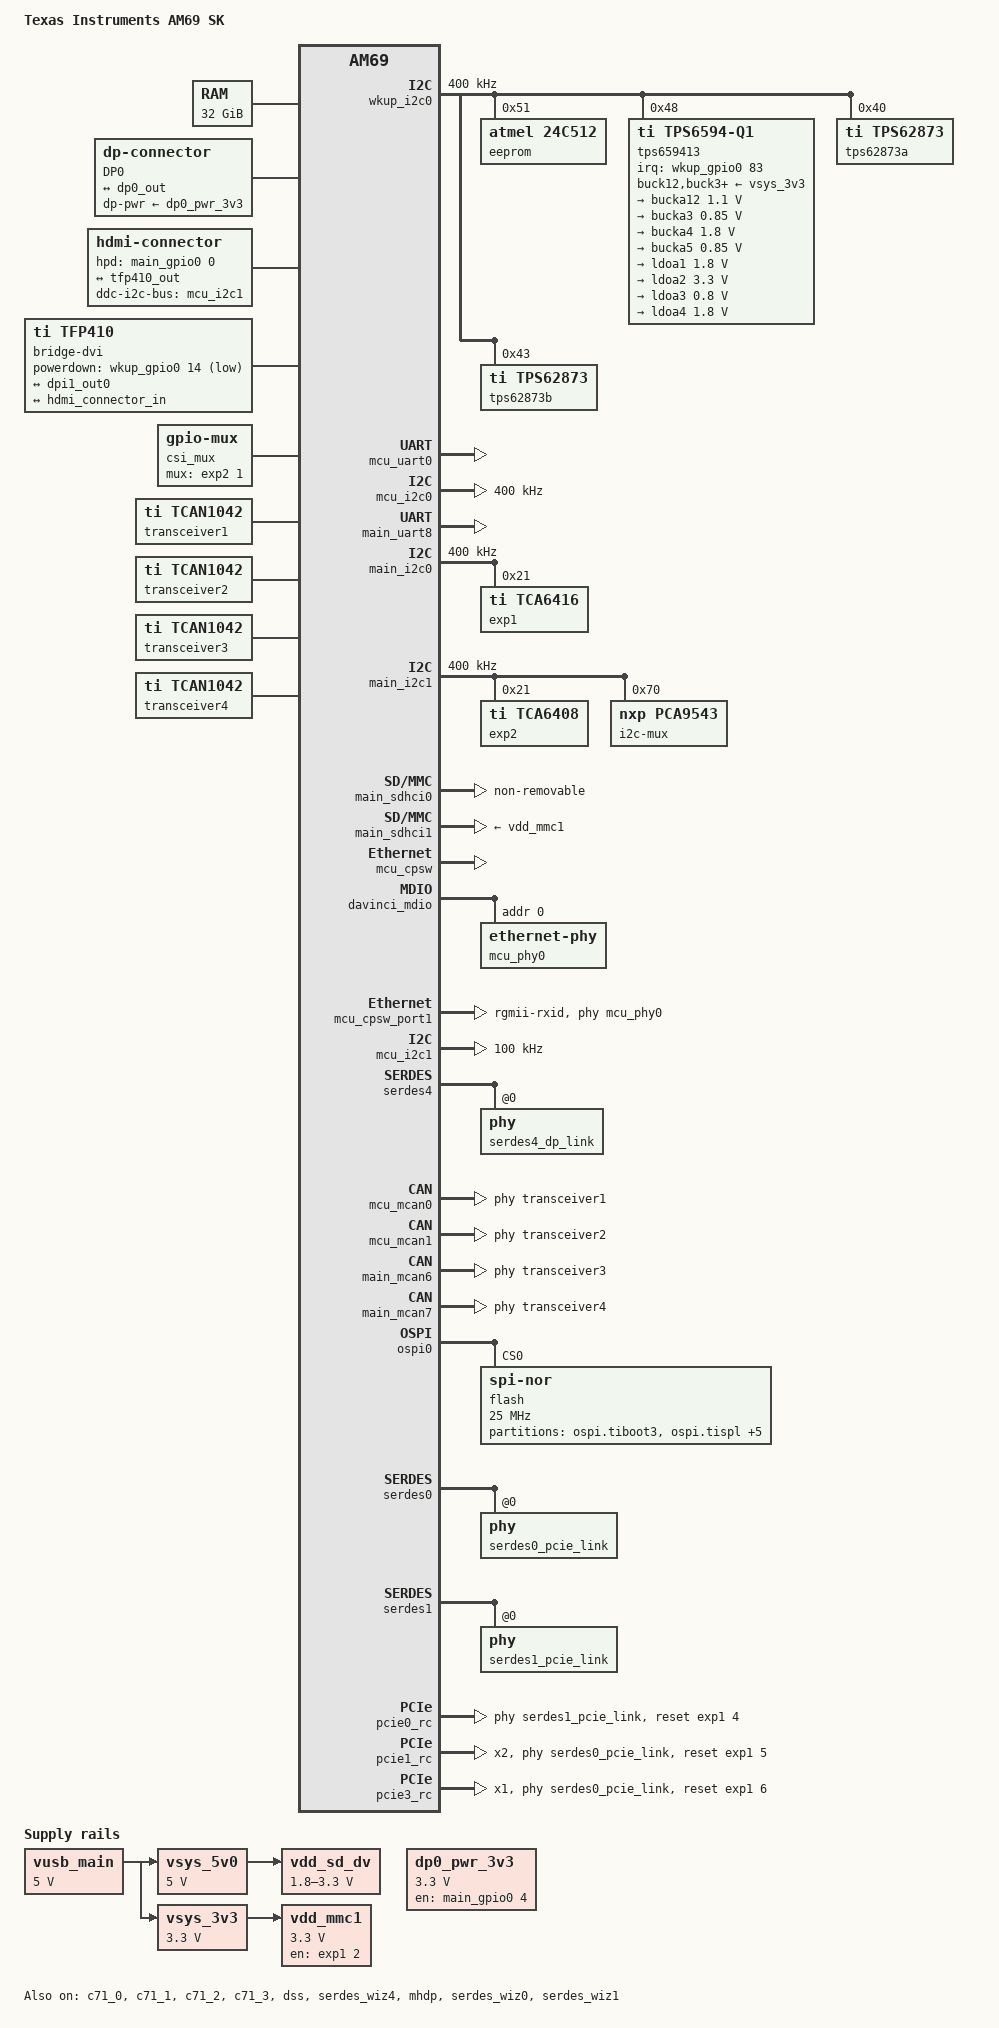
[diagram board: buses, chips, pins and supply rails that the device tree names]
// SPDX-License-Identifier: GPL-2.0-only OR MIT
/*
 * Copyright (C) 2022-2024 Texas Instruments Incorporated - https://www.ti.com/
 *
 * Design Files: https://www.ti.com/lit/zip/SPRR466
 * TRM: https://www.ti.com/lit/zip/spruj52
 */

/dts-v1/;

#include <dt-bindings/net/ti-dp83867.h>
#include <dt-bindings/gpio/gpio.h>
#include "k3-j784s4.dtsi"

/ {
	compatible = "ti,am69-sk", "ti,j784s4";
	model = "Texas Instruments AM69 SK";

	chosen {
		stdout-path = "serial2:115200n8";
	};

	aliases {
		serial0 = &wkup_uart0;
		serial1 = &mcu_uart0;
		serial2 = &main_uart8;
		mmc0 = &main_sdhci0;
		mmc1 = &main_sdhci1;
		i2c0 = &wkup_i2c0;
		i2c3 = &main_i2c0;
		ethernet0 = &mcu_cpsw_port1;
	};

	memory@80000000 {
		device_type = "memory";
		bootph-all;
		/* 32G RAM */
		reg = <0x00000000 0x80000000 0x00000000 0x80000000>,
		      <0x00000008 0x80000000 0x00000007 0x80000000>;
	};

	reserved_memory: reserved-memory {
		#address-cells = <2>;
		#size-cells = <2>;
		ranges;

		secure_ddr: optee@9e800000 {
			reg = <0x00 0x9e800000 0x00 0x01800000>;
			no-map;
		};

		mcu_r5fss0_core0_dma_memory_region: r5f-dma-memory@a0000000 {
			compatible = "shared-dma-pool";
			reg = <0x00 0xa0000000 0x00 0x100000>;
			no-map;
		};

		mcu_r5fss0_core0_memory_region: r5f-memory@a0100000 {
			compatible = "shared-dma-pool";
			reg = <0x00 0xa0100000 0x00 0xf00000>;
			no-map;
		};

		mcu_r5fss0_core1_dma_memory_region: r5f-dma-memory@a1000000 {
			compatible = "shared-dma-pool";
			reg = <0x00 0xa1000000 0x00 0x100000>;
			no-map;
		};

		mcu_r5fss0_core1_memory_region: r5f-memory@a1100000 {
			compatible = "shared-dma-pool";
			reg = <0x00 0xa1100000 0x00 0xf00000>;
			no-map;
		};

		main_r5fss0_core0_dma_memory_region: r5f-dma-memory@a2000000 {
			compatible = "shared-dma-pool";
			reg = <0x00 0xa2000000 0x00 0x100000>;
			no-map;
		};

		main_r5fss0_core0_memory_region: r5f-memory@a2100000 {
			compatible = "shared-dma-pool";
			reg = <0x00 0xa2100000 0x00 0xf00000>;
			no-map;
		};

		main_r5fss0_core1_dma_memory_region: r5f-dma-memory@a3000000 {
			compatible = "shared-dma-pool";
			reg = <0x00 0xa3000000 0x00 0x100000>;
			no-map;
		};

		main_r5fss0_core1_memory_region: r5f-memory@a3100000 {
			compatible = "shared-dma-pool";
			reg = <0x00 0xa3100000 0x00 0xf00000>;
			no-map;
		};

		main_r5fss1_core0_dma_memory_region: r5f-dma-memory@a4000000 {
			compatible = "shared-dma-pool";
			reg = <0x00 0xa4000000 0x00 0x100000>;
			no-map;
		};

		main_r5fss1_core0_memory_region: r5f-memory@a4100000 {
			compatible = "shared-dma-pool";
			reg = <0x00 0xa4100000 0x00 0xf00000>;
			no-map;
		};

		main_r5fss1_core1_dma_memory_region: r5f-dma-memory@a5000000 {
			compatible = "shared-dma-pool";
			reg = <0x00 0xa5000000 0x00 0x100000>;
			no-map;
		};

		main_r5fss1_core1_memory_region: r5f-memory@a5100000 {
			compatible = "shared-dma-pool";
			reg = <0x00 0xa5100000 0x00 0xf00000>;
			no-map;
		};

		main_r5fss2_core0_dma_memory_region: r5f-dma-memory@a6000000 {
			compatible = "shared-dma-pool";
			reg = <0x00 0xa6000000 0x00 0x100000>;
			no-map;
		};

		main_r5fss2_core0_memory_region: r5f-memory@a6100000 {
			compatible = "shared-dma-pool";
			reg = <0x00 0xa6100000 0x00 0xf00000>;
			no-map;
		};

		main_r5fss2_core1_dma_memory_region: r5f-dma-memory@a7000000 {
			compatible = "shared-dma-pool";
			reg = <0x00 0xa7000000 0x00 0x100000>;
			no-map;
		};

		main_r5fss2_core1_memory_region: r5f-memory@a7100000 {
			compatible = "shared-dma-pool";
			reg = <0x00 0xa7100000 0x00 0xf00000>;
			no-map;
		};

		c71_0_dma_memory_region: c71-dma-memory@a8000000 {
			compatible = "shared-dma-pool";
			reg = <0x00 0xa8000000 0x00 0x100000>;
			no-map;
		};

		c71_0_memory_region: c71-memory@a8100000 {
			compatible = "shared-dma-pool";
			reg = <0x00 0xa8100000 0x00 0xf00000>;
			no-map;
		};

		c71_1_dma_memory_region: c71-dma-memory@a9000000 {
			compatible = "shared-dma-pool";
			reg = <0x00 0xa9000000 0x00 0x100000>;
			no-map;
		};

		c71_1_memory_region: c71-memory@a9100000 {
			compatible = "shared-dma-pool";
			reg = <0x00 0xa9100000 0x00 0xf00000>;
			no-map;
		};

		c71_2_dma_memory_region: c71-dma-memory@aa000000 {
			compatible = "shared-dma-pool";
			reg = <0x00 0xaa000000 0x00 0x100000>;
			no-map;
		};

		c71_2_memory_region: c71-memory@aa100000 {
			compatible = "shared-dma-pool";
			reg = <0x00 0xaa100000 0x00 0xf00000>;
			no-map;
		};

		c71_3_dma_memory_region: c71-dma-memory@ab000000 {
			compatible = "shared-dma-pool";
			reg = <0x00 0xab000000 0x00 0x100000>;
			no-map;
		};

		c71_3_memory_region: c71-memory@ab100000 {
			compatible = "shared-dma-pool";
			reg = <0x00 0xab100000 0x00 0xf00000>;
			no-map;
		};
	};

	vusb_main: regulator-vusb-main5v0 {
		/* USB MAIN INPUT 5V DC */
		compatible = "regulator-fixed";
		regulator-name = "vusb-main5v0";
		regulator-min-microvolt = <5000000>;
		regulator-max-microvolt = <5000000>;
		regulator-always-on;
		regulator-boot-on;
	};

	vsys_5v0: regulator-vsys5v0 {
		/* Output of LM61460 */
		compatible = "regulator-fixed";
		regulator-name = "vsys_5v0";
		regulator-min-microvolt = <5000000>;
		regulator-max-microvolt = <5000000>;
		vin-supply = <&vusb_main>;
		regulator-always-on;
		regulator-boot-on;
	};

	vsys_3v3: regulator-vsys3v3 {
		/* Output of LM5143 */
		compatible = "regulator-fixed";
		regulator-name = "vsys_3v3";
		regulator-min-microvolt = <3300000>;
		regulator-max-microvolt = <3300000>;
		vin-supply = <&vusb_main>;
		regulator-always-on;
		regulator-boot-on;
	};

	vdd_mmc1: regulator-sd {
		/* Output of TPS22918 */
		compatible = "regulator-fixed";
		regulator-name = "vdd_mmc1";
		regulator-min-microvolt = <3300000>;
		regulator-max-microvolt = <3300000>;
		regulator-boot-on;
		enable-active-high;
		vin-supply = <&vsys_3v3>;
		gpio = <&exp1 2 GPIO_ACTIVE_HIGH>;
	};

	vdd_sd_dv: regulator-tlv71033 {
		/* Output of TLV71033 */
		compatible = "regulator-gpio";
		regulator-name = "tlv71033";
		pinctrl-names = "default";
		pinctrl-0 = <&vdd_sd_dv_pins_default>;
		regulator-min-microvolt = <1800000>;
		regulator-max-microvolt = <3300000>;
		regulator-boot-on;
		vin-supply = <&vsys_5v0>;
		gpios = <&main_gpio0 49 GPIO_ACTIVE_HIGH>;
		states = <1800000 0x0>,
			 <3300000 0x1>;
	};

	dp0_pwr_3v3: regulator-dp0-pwr {
		compatible = "regulator-fixed";
		regulator-name = "dp0-pwr";
		regulator-min-microvolt = <3300000>;
		regulator-max-microvolt = <3300000>;
		pinctrl-names = "default";
		pinctrl-0 = <&dp_pwr_en_pins_default>;
		gpio = <&main_gpio0 4 0>;	/* DP0_3V3 _EN */
		enable-active-high;
	};

	dp0: connector-dp0 {
		compatible = "dp-connector";
		label = "DP0";
		type = "full-size";
		dp-pwr-supply = <&dp0_pwr_3v3>;

		port {
			dp0_connector_in: endpoint {
				remote-endpoint = <&dp0_out>;
			};
		};
	};

	connector-hdmi {
		compatible = "hdmi-connector";
		label = "hdmi";
		type = "a";
		pinctrl-names = "default";
		pinctrl-0 = <&hdmi_hpd_pins_default>;
		ddc-i2c-bus = <&mcu_i2c1>;
		hpd-gpios = <&main_gpio0 0 GPIO_ACTIVE_HIGH>;	/* HDMI_HPD */

		port {
			hdmi_connector_in: endpoint {
				remote-endpoint = <&tfp410_out>;
			};
		};
	};

	bridge-dvi {
		compatible = "ti,tfp410";
		pinctrl-names = "default";
		pinctrl-0 = <&hdmi_pdn_pins_default>;
		powerdown-gpios = <&wkup_gpio0 14 GPIO_ACTIVE_LOW>;	/* HDMI_PDn */
		ti,deskew = <0>;

		ports {
			#address-cells = <1>;
			#size-cells = <0>;

			port@0 {
				reg = <0>;

				tfp410_in: endpoint {
					remote-endpoint = <&dpi1_out0>;
					pclk-sample = <1>;
				};
			};

			port@1 {
				reg = <1>;

				tfp410_out: endpoint {
					remote-endpoint = <&hdmi_connector_in>;
				};
			};
		};
	};

	csi_mux: mux-controller {
		compatible = "gpio-mux";
		#mux-state-cells = <1>;
		mux-gpios = <&exp2 1 GPIO_ACTIVE_HIGH>;
		idle-state = <0>;
	};

	transceiver1: can-phy0 {
		compatible = "ti,tcan1042";
		#phy-cells = <0>;
		max-bitrate = <5000000>;
	};

	transceiver2: can-phy1 {
		compatible = "ti,tcan1042";
		#phy-cells = <0>;
		max-bitrate = <5000000>;
	};

	transceiver3: can-phy2 {
		compatible = "ti,tcan1042";
		#phy-cells = <0>;
		max-bitrate = <5000000>;
	};

	transceiver4: can-phy3 {
		compatible = "ti,tcan1042";
		#phy-cells = <0>;
		max-bitrate = <5000000>;
	};

};

&main_pmx0 {
	bootph-all;
	main_uart8_pins_default: main-uart8-default-pins {
		bootph-all;
		pinctrl-single,pins = <
			J784S4_IOPAD(0x0d0, PIN_INPUT, 11) /* (AP38) SPI0_CS1.UART8_RXD */
			J784S4_IOPAD(0x0d4, PIN_OUTPUT, 11) /* (AN38) SPI0_CLK.UART8_TXD */
		>;
	};

	main_i2c0_pins_default: main-i2c0-default-pins {
		pinctrl-single,pins = <
			J784S4_IOPAD(0x0e0, PIN_INPUT_PULLUP, 0) /* (AN36) I2C0_SCL */
			J784S4_IOPAD(0x0e4, PIN_INPUT_PULLUP, 0) /* (AP37) I2C0_SDA */
		>;
	};

	main_i2c1_pins_default: main-i2c1-default-pins {
		pinctrl-single,pins = <
			J784S4_IOPAD(0x0ac, PIN_INPUT_PULLUP, 13) /* (AE34) MCASP0_AXR15.I2C1_SCL */
			J784S4_IOPAD(0x0b0, PIN_INPUT_PULLUP, 13) /* (AL33) MCASP1_AXR3.I2C1_SDA */
		>;
	};

	main_mmc1_pins_default: main-mmc1-default-pins {
		bootph-all;
		pinctrl-single,pins = <
			J784S4_IOPAD(0x104, PIN_INPUT, 0) /* (AB38) MMC1_CLK */
			J784S4_IOPAD(0x108, PIN_INPUT, 0) /* (AB36) MMC1_CMD */
			J784S4_IOPAD(0x100, PIN_INPUT, 0) /* (No Pin) MMC1_CLKLB */
			J784S4_IOPAD(0x0fc, PIN_INPUT, 0) /* (AA33) MMC1_DAT0 */
			J784S4_IOPAD(0x0f8, PIN_INPUT, 0) /* (AB34) MMC1_DAT1 */
			J784S4_IOPAD(0x0f4, PIN_INPUT, 0) /* (AA32) MMC1_DAT2 */
			J784S4_IOPAD(0x0f0, PIN_INPUT, 0) /* (AC38) MMC1_DAT3 */
			J784S4_IOPAD(0x0e8, PIN_INPUT, 8) /* (AR38) TIMER_IO0.MMC1_SDCD */
		>;
	};

	vdd_sd_dv_pins_default: vdd-sd-dv-default-pins {
		pinctrl-single,pins = <
			J784S4_IOPAD(0x0C4, PIN_INPUT, 7) /* (AD36) ECAP0_IN_APWM_OUT.GPIO0_49 */
		>;
	};

	rpi_header_gpio0_pins_default: rpi-header-gpio0-default-pins {
		pinctrl-single,pins = <
			J784S4_IOPAD(0x0BC, PIN_INPUT, 7) /* (AD33) MCASP1_AFSX.GPIO0_47 */
			J784S4_IOPAD(0x06C, PIN_INPUT, 7) /* (AJ37) MCASP4_AFSX.GPIO0_27 */
			J784S4_IOPAD(0x0B4, PIN_INPUT, 7) /* (AL34) MCASP1_AXR4.GPIO0_45 */
			J784S4_IOPAD(0x0C0, PIN_INPUT, 7) /* (AD38) MCASP1_AXR0.GPIO0_48 */
			J784S4_IOPAD(0x00C, PIN_INPUT, 7) /* (AF33) MCAN13_TX.GPIO0_3 */
			J784S4_IOPAD(0x0B8, PIN_INPUT, 7) /* (AC34) MCASP1_ACLKX.GPIO0_46 */
			J784S4_IOPAD(0x090, PIN_INPUT, 7) /* (AC35) MCASP0_AXR8.GPIO0_36 */
			J784S4_IOPAD(0x0A8, PIN_INPUT, 7) /* (AF34) MCASP0_AXR14.GPIO0_42 */
			J784S4_IOPAD(0x0A4, PIN_INPUT, 7) /* (AJ36) MCASP0_AXR13.GPIO0_41 */
			J784S4_IOPAD(0x034, PIN_INPUT, 7) /* (AJ34) PMIC_WAKE0n.GPIO0_13 */
			J784S4_IOPAD(0x0CC, PIN_INPUT, 7) /* (AM37) SPI0_CS0.GPIO0_51 */
			J784S4_IOPAD(0x08C, PIN_INPUT, 7) /* (AE35) MCASP0_AXR7.GPIO0_35 */
			J784S4_IOPAD(0x008, PIN_INPUT, 7) /* (AJ33) MCAN12_RX.GPIO0_2 */
			J784S4_IOPAD(0x004, PIN_INPUT, 7) /* (AG36) MCAN12_TX.GPIO0_1 */
		>;
	};

	dp0_pins_default: dp0-default-pins {
		pinctrl-single,pins = <
			J784S4_IOPAD(0x014, PIN_INPUT, 13) /* (AG33) MCAN14_TX.DP0_HPD */
		>;
	};

	dp_pwr_en_pins_default: dp-pwr-en-default-pins {
		pinctrl-single,pins = <
			J784S4_IOPAD(0x010, PIN_INPUT, 7) /* (AH33) MCAN13_RX.GPIO0_4 */
		>;
	};

	dss_vout0_pins_default: dss-vout0-default-pins {
		pinctrl-single,pins = <
			J784S4_IOPAD(0x074, PIN_OUTPUT, 2) /* (AC33) MCAN2_TX.VOUT0_DATA0 */
			J784S4_IOPAD(0x070, PIN_OUTPUT, 2) /* (AH38) MCAN1_RX.VOUT0_DATA1 */
			J784S4_IOPAD(0x07c, PIN_OUTPUT, 2) /* (AJ38) MCASP0_AXR3.VOUT0_DATA2 */
			J784S4_IOPAD(0x068, PIN_OUTPUT, 2) /* (AE38) MCAN0_RX.VOUT0_DATA3 */
			J784S4_IOPAD(0x064, PIN_OUTPUT, 2) /* (AF38) MCAN0_TX.VOUT0_DATA4 */
			J784S4_IOPAD(0x060, PIN_OUTPUT, 2) /* (AE36) MCASP2_AXR1.VOUT0_DATA5 */
			J784S4_IOPAD(0x05c, PIN_OUTPUT, 2) /* (AC36) MCASP2_AXR0.VOUT0_DATA6 */
			J784S4_IOPAD(0x058, PIN_OUTPUT, 2) /* (AE37) MCASP2_AFSX.VOUT0_DATA7 */
			J784S4_IOPAD(0x054, PIN_OUTPUT, 2) /* (AD37) MCASP2_ACLKX.VOUT0_DATA8 */
			J784S4_IOPAD(0x050, PIN_OUTPUT, 2) /* (AC37) MCASP1_AXR2.VOUT0_DATA9 */
			J784S4_IOPAD(0x04c, PIN_OUTPUT, 2) /* (AC32) MCASP1_AXR1.VOUT0_DATA10 */
			J784S4_IOPAD(0x048, PIN_OUTPUT, 2) /* (AK33) MCASP0_AXR2.VOUT0_DATA11 */
			J784S4_IOPAD(0x044, PIN_OUTPUT, 2) /* (AG37) MCASP0_AXR1.VOUT0_DATA12 */
			J784S4_IOPAD(0x040, PIN_OUTPUT, 2) /* (AF37) MCASP0_AXR0.VOUT0_DATA13 */
			J784S4_IOPAD(0x03c, PIN_OUTPUT, 2) /* (AK38) MCASP0_AFSX.VOUT0_DATA14 */
			J784S4_IOPAD(0x038, PIN_OUTPUT, 2) /* (AK35) MCASP0_ACLKX.VOUT0_DATA15 */
			J784S4_IOPAD(0x0c8, PIN_OUTPUT, 2) /* (AJ32) EXT_REFCLK1.VOUT0_DATA16 */
			J784S4_IOPAD(0x030, PIN_OUTPUT, 2) /* (AK37) GPIO0_12.VOUT0_DATA17 */
			J784S4_IOPAD(0x02c, PIN_OUTPUT, 2) /* (AL32) GPIO0_11.VOUT0_DATA18 */
			J784S4_IOPAD(0x028, PIN_OUTPUT, 2) /* (AE33) MCAN16_RX.VOUT0_DATA19 */
			J784S4_IOPAD(0x024, PIN_OUTPUT, 2) /* (AH34) MCAN16_TX.VOUT0_DATA20 */
			J784S4_IOPAD(0x020, PIN_OUTPUT, 2) /* (AJ35) MCAN15_RX.VOUT0_DATA21 */
			J784S4_IOPAD(0x01c, PIN_OUTPUT, 2) /* (AG34) MCAN15_TX.VOUT0_DATA22 */
			J784S4_IOPAD(0x018, PIN_OUTPUT, 2) /* (AK36) MCAN14_RX.VOUT0_DATA23 */
			J784S4_IOPAD(0x084, PIN_OUTPUT, 2) /* (AG38) MCASP0_AXR5.VOUT0_DE */
			J784S4_IOPAD(0x080, PIN_OUTPUT, 2) /* (AK34) MCASP0_AXR4.VOUT0_HSYNC */
			J784S4_IOPAD(0x078, PIN_OUTPUT, 2) /* (AH37) MCAN2_RX.VOUT0_PCLK */
			J784S4_IOPAD(0x088, PIN_OUTPUT, 2) /* (AF36) MCASP0_AXR6.VOUT0_VSYNC */
		>;
	};

	hdmi_hpd_pins_default: hdmi-hpd-default-pins {
		pinctrl-single,pins = <
			J784S4_IOPAD(0x000, PIN_INPUT, 7) /* (AN35) EXTINTN.GPIO0_0 */
		>;
	};

	main_mcan6_pins_default: main-mcan6-default-pins {
		pinctrl-single,pins = <
			J784S4_IOPAD(0x098, PIN_INPUT, 0) /* (AH36) MCAN6_RX */
			J784S4_IOPAD(0x094, PIN_OUTPUT, 0) /* (AG35) MCAN6_TX */
		>;
	};

	main_mcan7_pins_default: main-mcan7-default-pins {
		pinctrl-single,pins = <
			J784S4_IOPAD(0x0A0, PIN_INPUT, 0) /* (AD34) MCAN7_RX */
			J784S4_IOPAD(0x09C, PIN_OUTPUT, 0) /* (AF35) MCAN7_TX */
		>;
	};

};

&wkup_pmx0 {
	bootph-all;
	mcu_fss0_ospi0_pins_default: mcu-fss0-ospi0-default-pins {
		pinctrl-single,pins = <
			J784S4_WKUP_IOPAD(0x000, PIN_OUTPUT, 0) /* (E32) MCU_OSPI0_CLK */
			J784S4_WKUP_IOPAD(0x02c, PIN_OUTPUT, 0) /* (A32) MCU_OSPI0_CSn0 */
			J784S4_WKUP_IOPAD(0x00c, PIN_INPUT, 0) /* (B33) MCU_OSPI0_D0 */
			J784S4_WKUP_IOPAD(0x010, PIN_INPUT, 0) /* (B32) MCU_OSPI0_D1 */
			J784S4_WKUP_IOPAD(0x014, PIN_INPUT, 0) /* (C33) MCU_OSPI0_D2 */
			J784S4_WKUP_IOPAD(0x018, PIN_INPUT, 0) /* (C35) MCU_OSPI0_D3 */
			J784S4_WKUP_IOPAD(0x01c, PIN_INPUT, 0) /* (D33) MCU_OSPI0_D4 */
			J784S4_WKUP_IOPAD(0x020, PIN_INPUT, 0) /* (D34) MCU_OSPI0_D5 */
			J784S4_WKUP_IOPAD(0x024, PIN_INPUT, 0) /* (E34) MCU_OSPI0_D6 */
			J784S4_WKUP_IOPAD(0x028, PIN_INPUT, 0) /* (E33) MCU_OSPI0_D7 */
			J784S4_WKUP_IOPAD(0x008, PIN_INPUT, 0) /* (C34) MCU_OSPI0_DQS */
		>;
	};
};

&wkup_pmx2 {
	bootph-all;
	pmic_irq_pins_default: pmic-irq-default-pins {
		pinctrl-single,pins = <
			/* (AA37) MCU_ADC1_AIN4.WKUP_GPIO0_83 */
			J784S4_WKUP_IOPAD(0x0fc, PIN_INPUT, 7)
		>;
	};

	wkup_uart0_pins_default: wkup-uart0-default-pins {
		bootph-all;
		pinctrl-single,pins = <
			J784S4_WKUP_IOPAD(0x070, PIN_INPUT, 0) /* (L37) WKUP_UART0_CTSn */
			J784S4_WKUP_IOPAD(0x074, PIN_OUTPUT, 0) /* (L36) WKUP_UART0_RTSn */
			J784S4_WKUP_IOPAD(0x048, PIN_INPUT, 0) /* (K35) WKUP_UART0_RXD */
			J784S4_WKUP_IOPAD(0x04c, PIN_OUTPUT, 0) /* (K34) WKUP_UART0_TXD */
		>;
	};

	wkup_i2c0_pins_default: wkup-i2c0-default-pins {
		bootph-all;
		pinctrl-single,pins = <
			J784S4_WKUP_IOPAD(0x98, PIN_INPUT, 0) /* (N33) WKUP_I2C0_SCL */
			J784S4_WKUP_IOPAD(0x9c, PIN_INPUT, 0) /* (N35) WKUP_I2C0_SDA */
		>;
	};

	mcu_uart0_pins_default: mcu-uart0-default-pins {
		bootph-all;
		pinctrl-single,pins = <
			J784S4_WKUP_IOPAD(0x08c, PIN_INPUT, 0) /* (K38) WKUP_GPIO0_13.MCU_UART0_RXD */
			J784S4_WKUP_IOPAD(0x088, PIN_OUTPUT, 0) /* (J37) WKUP_GPIO0_12.MCU_UART0_TXD */
		>;
	};

	mcu_i2c0_pins_default: mcu-i2c0-default-pins {
		pinctrl-single,pins = <
			J784S4_WKUP_IOPAD(0x0a0, PIN_INPUT_PULLUP, 0) /* (M35) MCU_I2C0_SCL */
			J784S4_WKUP_IOPAD(0x0a4, PIN_INPUT_PULLUP, 0) /* (G34) MCU_I2C0_SDA */
		>;
	};

	mcu_cpsw_pins_default: mcu-cpsw-default-pins {
		pinctrl-single,pins = <
			J784S4_WKUP_IOPAD(0x02c, PIN_INPUT, 0) /* (A35) MCU_RGMII1_RD0 */
			J784S4_WKUP_IOPAD(0x028, PIN_INPUT, 0) /* (B36) MCU_RGMII1_RD1 */
			J784S4_WKUP_IOPAD(0x024, PIN_INPUT, 0) /* (C36) MCU_RGMII1_RD2 */
			J784S4_WKUP_IOPAD(0x020, PIN_INPUT, 0) /* (D36) MCU_RGMII1_RD3 */
			J784S4_WKUP_IOPAD(0x01c, PIN_INPUT, 0) /* (B37) MCU_RGMII1_RXC */
			J784S4_WKUP_IOPAD(0x004, PIN_INPUT, 0) /* (C37) MCU_RGMII1_RX_CTL */
			J784S4_WKUP_IOPAD(0x014, PIN_OUTPUT, 0) /* (D37) MCU_RGMII1_TD0 */
			J784S4_WKUP_IOPAD(0x010, PIN_OUTPUT, 0) /* (D38) MCU_RGMII1_TD1 */
			J784S4_WKUP_IOPAD(0x00c, PIN_OUTPUT, 0) /* (E37) MCU_RGMII1_TD2 */
			J784S4_WKUP_IOPAD(0x008, PIN_OUTPUT, 0) /* (E38) MCU_RGMII1_TD3 */
			J784S4_WKUP_IOPAD(0x018, PIN_OUTPUT, 0) /* (E36) MCU_RGMII1_TXC */
			J784S4_WKUP_IOPAD(0x000, PIN_OUTPUT, 0) /* (C38) MCU_RGMII1_TX_CTL */
		>;
	};

	mcu_mdio_pins_default: mcu-mdio-default-pins {
		pinctrl-single,pins = <
			J784S4_WKUP_IOPAD(0x034, PIN_OUTPUT, 0) /* (A36) MCU_MDIO0_MDC */
			J784S4_WKUP_IOPAD(0x030, PIN_INPUT, 0) /* (B35) MCU_MDIO0_MDIO */
		>;
	};

	mcu_rpi_hdr1_gpio0_pins_default: mcu-rpi-hdr1-gpio0-default-pins {
		pinctrl-single,pins = <
			J784S4_WKUP_IOPAD(0x118, PIN_INPUT, 7) /* (N34) WKUP_GPIO0_66 */
			J784S4_WKUP_IOPAD(0x05c, PIN_INPUT, 7) /* (J34) WKUP_GPIO0_1 */
			J784S4_WKUP_IOPAD(0x060, PIN_INPUT, 7) /* (J35) WKUP_GPIO0_2 */
			J784S4_WKUP_IOPAD(0x058, PIN_INPUT, 7) /* (H38) WKUP_GPIO0_0 */
			J784S4_WKUP_IOPAD(0x0b8, PIN_INPUT, 7) /* (M37) WKUP_GPIO0_56 */
			J784S4_WKUP_IOPAD(0x114, PIN_INPUT, 7) /* (M36) WKUP_GPIO0_57 */
			J784S4_WKUP_IOPAD(0x094, PIN_INPUT, 7) /* (K37) WKUP_GPIO0_15 */
			J784S4_WKUP_IOPAD(0x064, PIN_INPUT, 7) /* (J36) WKUP_GPIO0_3 */
			J784S4_WKUP_IOPAD(0x11c, PIN_INPUT, 7) /* (M34) WKUP_GPIO0_67 */
		>;
	};

	mcu_i2c1_pins_default: mcu-i2c1-default-pins {
		pinctrl-single,pins = <
			/* (L35) WKUP_GPIO0_8.MCU_I2C1_SCL */
			J784S4_WKUP_IOPAD(0x078, PIN_INPUT_PULLUP, 0)
			/* (L34) WKUP_GPIO0_9.MCU_I2C1_SDA */
			J784S4_WKUP_IOPAD(0x07c, PIN_INPUT_PULLUP, 0)
		>;
	};

	hdmi_pdn_pins_default: hdmi-pdn-default-pins {
		pinctrl-single,pins = <
			J784S4_WKUP_IOPAD(0x090, PIN_INPUT, 7) /* (H37) WKUP_GPIO0_14 */
		>;
	};

	mcu_mcan0_pins_default: mcu-mcan0-default-pins {
		pinctrl-single,pins = <
			J784S4_WKUP_IOPAD(0x054, PIN_INPUT, 0) /* (F38) MCU_MCAN0_RX */
			J784S4_WKUP_IOPAD(0x050, PIN_OUTPUT, 0) /* (K33) MCU_MCAN0_TX */
		>;
	};

	mcu_mcan1_pins_default: mcu-mcan1-default-pins {
		pinctrl-single,pins = <
			J784S4_WKUP_IOPAD(0x06c, PIN_INPUT, 0) /* (K36) WKUP_GPIO0_5.MCU_MCAN1_RX */
			J784S4_WKUP_IOPAD(0x068, PIN_OUTPUT, 0)/* (H35) WKUP_GPIO0_4.MCU_MCAN1_TX */
		>;
	};

};

&wkup_pmx3 {
	mcu_rpi_hdr2_gpio0_pins_default: mcu-rpi-hdr2-gpio0-default-pins {
		pinctrl-single,pins = <
			J784S4_WKUP_IOPAD(0x0, PIN_INPUT, 7) /* (M33) WKUP_GPIO0_49 */
		>;
	};
};

&mailbox0_cluster0 {
	status = "okay";
	interrupts = <436>;
	mbox_mcu_r5fss0_core0: mbox-mcu-r5fss0-core0 {
		ti,mbox-rx = <0 0 0>;
		ti,mbox-tx = <1 0 0>;
	};

	mbox_mcu_r5fss0_core1: mbox-mcu-r5fss0-core1 {
		ti,mbox-rx = <2 0 0>;
		ti,mbox-tx = <3 0 0>;
	};
};

&mailbox0_cluster1 {
	status = "okay";
	interrupts = <432>;
	mbox_main_r5fss0_core0: mbox-main-r5fss0-core0 {
		ti,mbox-rx = <0 0 0>;
		ti,mbox-tx = <1 0 0>;
	};

	mbox_main_r5fss0_core1: mbox-main-r5fss0-core1 {
		ti,mbox-rx = <2 0 0>;
		ti,mbox-tx = <3 0 0>;
	};
};

&mailbox0_cluster2 {
	status = "okay";
	interrupts = <428>;
	mbox_main_r5fss1_core0: mbox-main-r5fss1-core0 {
		ti,mbox-rx = <0 0 0>;
		ti,mbox-tx = <1 0 0>;
	};

	mbox_main_r5fss1_core1: mbox-main-r5fss1-core1 {
		ti,mbox-rx = <2 0 0>;
		ti,mbox-tx = <3 0 0>;
	};
};

&mailbox0_cluster3 {
	status = "okay";
	interrupts = <424>;
	mbox_main_r5fss2_core0: mbox-main-r5fss2-core0 {
		ti,mbox-rx = <0 0 0>;
		ti,mbox-tx = <1 0 0>;
	};

	mbox_main_r5fss2_core1: mbox-main-r5fss2-core1 {
		ti,mbox-rx = <2 0 0>;
		ti,mbox-tx = <3 0 0>;
	};
};

&mailbox0_cluster4 {
	status = "okay";
	interrupts = <420>;
	mbox_c71_0: mbox-c71-0 {
		ti,mbox-rx = <0 0 0>;
		ti,mbox-tx = <1 0 0>;
	};

	mbox_c71_1: mbox-c71-1 {
		ti,mbox-rx = <2 0 0>;
		ti,mbox-tx = <3 0 0>;
	};
};

&mailbox0_cluster5 {
	status = "okay";
	interrupts = <416>;
	mbox_c71_2: mbox-c71-2 {
		ti,mbox-rx = <0 0 0>;
		ti,mbox-tx = <1 0 0>;
	};

	mbox_c71_3: mbox-c71-3 {
		ti,mbox-rx = <2 0 0>;
		ti,mbox-tx = <3 0 0>;
	};
};

&wkup_uart0 {
	/* Firmware usage */
	status = "reserved";
	pinctrl-names = "default";
	pinctrl-0 = <&wkup_uart0_pins_default>;
};

&wkup_i2c0 {
	bootph-all;
	status = "okay";
	pinctrl-names = "default";
	pinctrl-0 = <&wkup_i2c0_pins_default>;
	clock-frequency = <400000>;

	eeprom@51 {
		/* AT24C512C-MAHM-T */
		compatible = "atmel,24c512";
		reg = <0x51>;
	};

	tps659413: pmic@48 {
		compatible = "ti,tps6594-q1";
		reg = <0x48>;
		system-power-controller;
		pinctrl-names = "default";
		pinctrl-0 = <&pmic_irq_pins_default>;
		interrupt-parent = <&wkup_gpio0>;
		interrupts = <83 IRQ_TYPE_EDGE_FALLING>;
		gpio-controller;
		#gpio-cells = <2>;
		ti,primary-pmic;
		buck12-supply = <&vsys_3v3>;
		buck3-supply = <&vsys_3v3>;
		buck4-supply = <&vsys_3v3>;
		buck5-supply = <&vsys_3v3>;
		ldo1-supply = <&vsys_3v3>;
		ldo2-supply = <&vsys_3v3>;
		ldo3-supply = <&vsys_3v3>;
		ldo4-supply = <&vsys_3v3>;

		regulators {
			bucka12: buck12 {
				regulator-name = "vdd_ddr_1v1";
				regulator-min-microvolt = <1100000>;
				regulator-max-microvolt = <1100000>;
				regulator-boot-on;
				regulator-always-on;
			};

			bucka3: buck3 {
				regulator-name = "vdd_ram_0v85";
				regulator-min-microvolt = <850000>;
				regulator-max-microvolt = <850000>;
				regulator-boot-on;
				regulator-always-on;
			};

			bucka4: buck4 {
				regulator-name = "vdd_io_1v8";
				regulator-min-microvolt = <1800000>;
				regulator-max-microvolt = <1800000>;
				regulator-boot-on;
				regulator-always-on;
			};

			bucka5: buck5 {
				regulator-name = "vdd_mcu_0v85";
				regulator-min-microvolt = <850000>;
				regulator-max-microvolt = <850000>;
				regulator-boot-on;
				regulator-always-on;
			};

			ldoa1: ldo1 {
				regulator-name = "vdd_mcuio_1v8";
				regulator-min-microvolt = <1800000>;
				regulator-max-microvolt = <1800000>;
				regulator-boot-on;
				regulator-always-on;
			};

			ldoa2: ldo2 {
				regulator-name = "vdd_mcuio_3v3";
				regulator-min-microvolt = <3300000>;
				regulator-max-microvolt = <3300000>;
				regulator-boot-on;
				regulator-always-on;
			};

			ldoa3: ldo3 {
				regulator-name = "vds_dll_0v8";
				regulator-min-microvolt = <800000>;
				regulator-max-microvolt = <800000>;
				regulator-boot-on;
				regulator-always-on;
			};

			ldoa4: ldo4 {
				regulator-name = "vda_mcu_1v8";
				regulator-min-microvolt = <1800000>;
				regulator-max-microvolt = <1800000>;
				regulator-boot-on;
				regulator-always-on;
			};
		};
	};

	tps62873a: regulator@40 {
		compatible = "ti,tps62873";
		reg = <0x40>;
		bootph-pre-ram;
		regulator-name = "VDD_CPU_AVS";
		regulator-min-microvolt = <600000>;
		regulator-max-microvolt = <900000>;
		regulator-boot-on;
		regulator-always-on;
	};

	tps62873b: regulator@43 {
		compatible = "ti,tps62873";
		reg = <0x43>;
		regulator-name = "VDD_CORE_0V8";
		regulator-min-microvolt = <760000>;
		regulator-max-microvolt = <840000>;
		regulator-boot-on;
		regulator-always-on;
	};
};

&wkup_gpio0 {
	status = "okay";
	pinctrl-names = "default";
	pinctrl-0 = <&mcu_rpi_hdr1_gpio0_pins_default>, <&mcu_rpi_hdr2_gpio0_pins_default>;
};

&mcu_uart0 {
	bootph-all;
	status = "okay";
	pinctrl-names = "default";
	pinctrl-0 = <&mcu_uart0_pins_default>;
};

&mcu_i2c0 {
	status = "okay";
	pinctrl-names = "default";
	pinctrl-0 = <&mcu_i2c0_pins_default>;
	clock-frequency = <400000>;
};

&main_uart8 {
	bootph-all;
	status = "okay";
	pinctrl-names = "default";
	pinctrl-0 = <&main_uart8_pins_default>;
};

&main_i2c0 {
	status = "okay";
	pinctrl-names = "default";
	pinctrl-0 = <&main_i2c0_pins_default>;
	clock-frequency = <400000>;

	exp1: gpio@21 {
		compatible = "ti,tca6416";
		reg = <0x21>;
		gpio-controller;
		#gpio-cells = <2>;
		gpio-line-names = "BOARDID_EEPROM_WP", "CAN_STB", "GPIO_uSD_PWR_EN",
				"IO_EXP_MCU_RGMII_RST#", "IO_EXP_PCIe0_4L_PERST#",
				"IO_EXP_PCIe1_M.2_RTSz", "IO_EXP_PCIe3_M.2_RTSz",
				"PM_INA_BUS_EN", "ENET1_EXP_PWRDN", "EXP1_ENET_RSTz",
				"ENET1_I2CMUX_SEL", "PCIe0_CLKREQ#", "PCIe1_M.2_CLKREQ#",
				"PCIe3_M2_CLKREQ#", "PCIe0_PRSNT2#_1", "PCIe0_PRSNT2#_2";
	};
};

&main_i2c1 {
	pinctrl-names = "default";
	pinctrl-0 = <&main_i2c1_pins_default>;
	clock-frequency = <400000>;
	status = "okay";

	exp2: gpio@21 {
		compatible = "ti,tca6408";
		reg = <0x21>;
		gpio-controller;
		#gpio-cells = <2>;
		gpio-line-names = "CSI_VIO_SEL", "CSI_MUX_SEL_2", "CSI2_RSTz",
				  "IO_EXP_CAM0_GPIO1", "IO_EXP_CAM1_GPIO1";
	};

	i2c-mux@70 {
		compatible = "nxp,pca9543";
		#address-cells = <1>;
		#size-cells = <0>;
		reg = <0x70>;

		cam0_i2c: i2c@0 {
			#address-cells = <1>;
			#size-cells = <0>;
			reg = <0>;
		};

		cam1_i2c: i2c@1 {
			#address-cells = <1>;
			#size-cells = <0>;
			reg = <1>;
		};

	};
};

&main_sdhci0 {
	bootph-all;
	/* eMMC */
	status = "okay";
	non-removable;
	ti,driver-strength-ohm = <50>;
	disable-wp;
};

&main_sdhci1 {
	bootph-all;
	/* SD card */
	status = "okay";
	pinctrl-0 = <&main_mmc1_pins_default>;
	pinctrl-names = "default";
	disable-wp;
	vmmc-supply = <&vdd_mmc1>;
	vqmmc-supply = <&vdd_sd_dv>;
};

&main_gpio0 {
	status = "okay";
	pinctrl-names = "default";
	pinctrl-0 = <&rpi_header_gpio0_pins_default>;
};

&mcu_cpsw {
	status = "okay";
	pinctrl-names = "default";
	pinctrl-0 = <&mcu_cpsw_pins_default>, <&mcu_mdio_pins_default>;
};

&davinci_mdio {
	mcu_phy0: ethernet-phy@0 {
		reg = <0>;
		ti,rx-internal-delay = <DP83867_RGMIIDCTL_2_00_NS>;
		ti,fifo-depth = <DP83867_PHYCR_FIFO_DEPTH_4_B_NIB>;
		ti,min-output-impedance;
	};
};

&mcu_cpsw_port1 {
	status = "okay";
	phy-mode = "rgmii-rxid";
	phy-handle = <&mcu_phy0>;
};

&mcu_r5fss0_core0 {
	mboxes = <&mailbox0_cluster0 &mbox_mcu_r5fss0_core0>;
	memory-region = <&mcu_r5fss0_core0_dma_memory_region>,
			<&mcu_r5fss0_core0_memory_region>;
};

&mcu_r5fss0_core1 {
	mboxes = <&mailbox0_cluster0 &mbox_mcu_r5fss0_core1>;
	memory-region = <&mcu_r5fss0_core1_dma_memory_region>,
			<&mcu_r5fss0_core1_memory_region>;
};

&main_r5fss0 {
	ti,cluster-mode = <0>;
};

&main_r5fss1 {
	ti,cluster-mode = <0>;
};

/* Timers are used by Remoteproc firmware */
&main_timer0 {
	status = "reserved";
};

&main_timer1 {
	status = "reserved";
};

&main_timer2 {
	status = "reserved";
};

&main_timer3 {
	status = "reserved";
};

&main_timer4 {
	status = "reserved";
};

&main_timer5 {
	status = "reserved";
};

&main_timer6 {
	status = "reserved";
};

&main_timer7 {
	status = "reserved";
};

&main_timer8 {
	status = "reserved";
};

&main_timer9 {
	status = "reserved";
};

&main_r5fss2 {
	ti,cluster-mode = <0>;
};

&main_r5fss0_core0 {
	mboxes = <&mailbox0_cluster1 &mbox_main_r5fss0_core0>;
	memory-region = <&main_r5fss0_core0_dma_memory_region>,
			<&main_r5fss0_core0_memory_region>;
};

&main_r5fss0_core1 {
	mboxes = <&mailbox0_cluster1 &mbox_main_r5fss0_core1>;
	memory-region = <&main_r5fss0_core1_dma_memory_region>,
			<&main_r5fss0_core1_memory_region>;
};

&main_r5fss1_core0 {
	mboxes = <&mailbox0_cluster2 &mbox_main_r5fss1_core0>;
	memory-region = <&main_r5fss1_core0_dma_memory_region>,
			<&main_r5fss1_core0_memory_region>;
};

&main_r5fss1_core1 {
	mboxes = <&mailbox0_cluster2 &mbox_main_r5fss1_core1>;
	memory-region = <&main_r5fss1_core1_dma_memory_region>,
			<&main_r5fss1_core1_memory_region>;
};

&main_r5fss2_core0 {
	mboxes = <&mailbox0_cluster3 &mbox_main_r5fss2_core0>;
	memory-region = <&main_r5fss2_core0_dma_memory_region>,
			<&main_r5fss2_core0_memory_region>;
};

&main_r5fss2_core1 {
	mboxes = <&mailbox0_cluster3 &mbox_main_r5fss2_core1>;
	memory-region = <&main_r5fss2_core1_dma_memory_region>,
			<&main_r5fss2_core1_memory_region>;
};

&c71_0 {
	status = "okay";
	mboxes = <&mailbox0_cluster4 &mbox_c71_0>;
	memory-region = <&c71_0_dma_memory_region>,
			<&c71_0_memory_region>;
};

&c71_1 {
	status = "okay";
	mboxes = <&mailbox0_cluster4 &mbox_c71_1>;
	memory-region = <&c71_1_dma_memory_region>,
			<&c71_1_memory_region>;
};

&c71_2 {
	status = "okay";
	mboxes = <&mailbox0_cluster5 &mbox_c71_2>;
	memory-region = <&c71_2_dma_memory_region>,
			<&c71_2_memory_region>;
};

&c71_3 {
	status = "okay";
	mboxes = <&mailbox0_cluster5 &mbox_c71_3>;
	memory-region = <&c71_3_dma_memory_region>,
			<&c71_3_memory_region>;
};

&wkup_gpio_intr {
	status = "okay";
};

&mcu_i2c1 {
	status = "okay";
	pinctrl-names = "default";
	pinctrl-0 = <&mcu_i2c1_pins_default>;
	clock-frequency = <100000>;
};

&serdes_refclk {
	status = "okay";
	clock-frequency = <100000000>;
};

&dss {
	status = "okay";
	pinctrl-names = "default";
	pinctrl-0 = <&dss_vout0_pins_default>;
	assigned-clocks = <&k3_clks 218 2>,
			  <&k3_clks 218 5>;
	assigned-clock-parents = <&k3_clks 218 3>,
				 <&k3_clks 218 7>;
};

&serdes_wiz4 {
	status = "okay";
};

&serdes4 {
	status = "okay";
	serdes4_dp_link: phy@0 {
		reg = <0>;
		cdns,num-lanes = <4>;
		#phy-cells = <0>;
		cdns,phy-type = <PHY_TYPE_DP>;
		resets = <&serdes_wiz4 1>, <&serdes_wiz4 2>,
			 <&serdes_wiz4 3>, <&serdes_wiz4 4>;
	};
};

&mhdp {
	status = "okay";
	pinctrl-names = "default";
	pinctrl-0 = <&dp0_pins_default>;
	phys = <&serdes4_dp_link>;
	phy-names = "dpphy";
};

&dss_ports {
	#address-cells = <1>;
	#size-cells = <0>;

	/* DP */
	port@0 {
		reg = <0>;

		dpi0_out: endpoint {
			remote-endpoint = <&dp0_in>;
		};
	};

	/* HDMI */
	port@1 {
		reg = <1>;

		dpi1_out0: endpoint {
			remote-endpoint = <&tfp410_in>;
		};
	};
};

&dp0_ports {

	port@0 {
		reg = <0>;

		dp0_in: endpoint {
			remote-endpoint = <&dpi0_out>;
		};
	};

	port@4 {
		reg = <4>;

		dp0_out: endpoint {
			remote-endpoint = <&dp0_connector_in>;
		};
	};
};

&mcu_mcan0 {
	status = "okay";
	pinctrl-names = "default";
	pinctrl-0 = <&mcu_mcan0_pins_default>;
	phys = <&transceiver1>;
};

&mcu_mcan1 {
	status = "okay";
	pinctrl-names = "default";
	pinctrl-0 = <&mcu_mcan1_pins_default>;
	phys = <&transceiver2>;
};

&main_mcan6 {
	status = "okay";
	pinctrl-names = "default";
	pinctrl-0 = <&main_mcan6_pins_default>;
	phys = <&transceiver3>;
};

&main_mcan7 {
	status = "okay";
	pinctrl-names = "default";
	pinctrl-0 = <&main_mcan7_pins_default>;
	phys = <&transceiver4>;
};

&ospi0 {
	status = "okay";
	pinctrl-names = "default";
	pinctrl-0 = <&mcu_fss0_ospi0_pins_default>;

	flash@0 {
		compatible = "jedec,spi-nor";
		reg = <0x0>;
		spi-tx-bus-width = <8>;
		spi-rx-bus-width = <8>;
		spi-max-frequency = <25000000>;
		cdns,tshsl-ns = <60>;
		cdns,tsd2d-ns = <60>;
		cdns,tchsh-ns = <60>;
		cdns,tslch-ns = <60>;
		cdns,read-delay = <4>;

		partitions {
			bootph-all;
			compatible = "fixed-partitions";
			#address-cells = <1>;
			#size-cells = <1>;

			partition@0 {
				label = "ospi.tiboot3";
				reg = <0x0 0x100000>;
			};

			partition@100000 {
				label = "ospi.tispl";
				reg = <0x100000 0x200000>;
			};

			partition@300000 {
				label = "ospi.u-boot";
				reg = <0x300000 0x400000>;
			};

			partition@700000 {
				label = "ospi.env";
				reg = <0x700000 0x40000>;
			};

			partition@740000 {
				label = "ospi.env.backup";
				reg = <0x740000 0x40000>;
			};

			partition@800000 {
				label = "ospi.rootfs";
				reg = <0x800000 0x37c0000>;
			};

			partition@3fc0000 {
				bootph-pre-ram;
				label = "ospi.phypattern";
				reg = <0x3fc0000 0x40000>;
			};
		};
	};
};

&serdes_ln_ctrl {
	idle-states = <J784S4_SERDES0_LANE0_PCIE1_LANE0>, <J784S4_SERDES0_LANE1_PCIE1_LANE1>,
		      <J784S4_SERDES0_LANE2_PCIE3_LANE0>, <J784S4_SERDES0_LANE3_USB>,
			<J784S4_SERDES1_LANE0_PCIE0_LANE0>, <J784S4_SERDES1_LANE1_PCIE0_LANE1>,
			<J784S4_SERDES1_LANE2_PCIE0_LANE2>, <J784S4_SERDES1_LANE3_PCIE0_LANE3>;
};

&serdes_wiz0 {
	status = "okay";
};

&serdes0 {
	status = "okay";

	serdes0_pcie_link: phy@0 {
		reg = <0>;
		cdns,num-lanes = <3>;
		#phy-cells = <0>;
		cdns,phy-type = <PHY_TYPE_PCIE>;
		resets = <&serdes_wiz0 1>, <&serdes_wiz0 2>, <&serdes_wiz0 3>;
	};
};

&serdes_wiz1 {
	status = "okay";
};

&serdes1 {
	status = "okay";

	serdes1_pcie_link: phy@0 {
		reg = <0>;
		cdns,num-lanes = <4>;
		#phy-cells = <0>;
		cdns,phy-type = <PHY_TYPE_PCIE>;
		resets = <&serdes_wiz1 1>, <&serdes_wiz1 2>, <&serdes_wiz1 3>, <&serdes_wiz1 4>;
	};
};

&pcie0_rc {
	status = "okay";
	reset-gpios = <&exp1 4 GPIO_ACTIVE_HIGH>;
	phys = <&serdes1_pcie_link>;
	phy-names = "pcie-phy";
};

&pcie1_rc {
	status = "okay";
	reset-gpios = <&exp1 5 GPIO_ACTIVE_HIGH>;
	phys = <&serdes0_pcie_link>;
	phy-names = "pcie-phy";
	num-lanes = <2>;
};

&pcie3_rc {
	status = "okay";
	reset-gpios = <&exp1 6 GPIO_ACTIVE_HIGH>;
	phys = <&serdes0_pcie_link>;
	phy-names = "pcie-phy";
	num-lanes = <1>;
};
